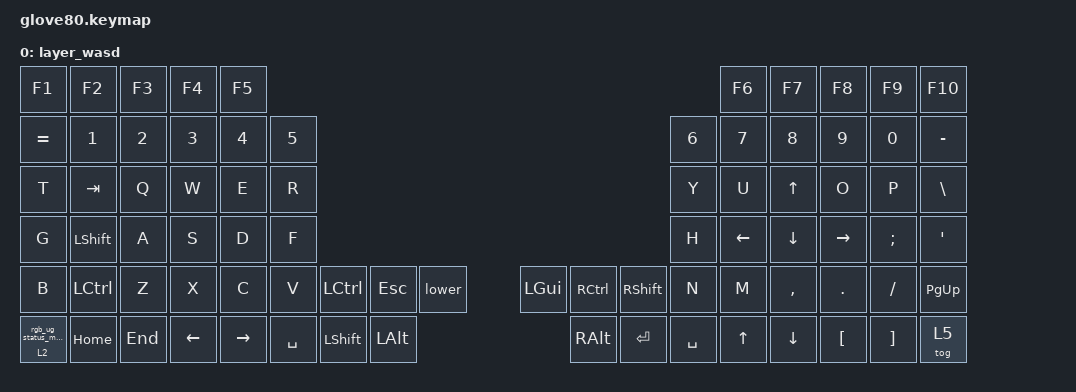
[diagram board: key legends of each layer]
#define HOST_OS 1  // set to 1 for Linux, default is 0 (Windows)
#include "./zmk-nodefree-config/helper.h"
#include "./zmk-nodefree-config/keypos_def/keypos_glv80.h"
/* #include "./zmk-nodefree-config/international_chars/german.dtsi" */
/*
 * Copyright (c) 2020 The ZMK Contributors
 * Copyright (c) 2022 Innaworks Development Limited, trading as MoErgo
 *
 * SPDX-License-Identifier: MIT
 */


/* THIS FILE WAS GENERATED BY GLOVE80 LAYOUT EDITOR
 *
 * This file was generated automatically. You may or may not want to
 * edit it directly.
 */

#include <behaviors.dtsi>
/* Include all behaviour includes needed by system behaviors/macros */
#include <dt-bindings/zmk/outputs.h>

/* Include behaviour includes needed by key binds - automatically generated */
#include <dt-bindings/zmk/keys.h>
#include <dt-bindings/zmk/bt.h>
#include <dt-bindings/zmk/rgb.h>
#include <dt-bindings/zmk/outputs.h>

#define QUICK_TAP_MS 175
#define THUMB_QUICK_TAP_MS 250
#define TAPPING_TERM_MS 280
#define DEF 0
#define NAV 3
/* #define FN 2 */
#define NUM 4
#define SYM 4
/* #define UC 5 */
/* #define MOUSE 6 */

#define ___ &trans
#define _x_ &none

/* ZMK_UNICODE_PAIR(   de_ae,      N0, N0,  E, N4,    N0, N0,  C, N4) */
/* ZMK_UNICODE_PAIR(   de_oe,      N0, N0,  F, N6,    N0, N0,  D, N6) */
/* ZMK_UNICODE_PAIR(   de_ue,      N0, N0,  F,  C,    N0, N0,  D,  C) */
/* ZMK_UNICODE_SINGLE( de_eszett,  N0, N0,  D,  F) */

/ {
    /* Glove80 system behavior & macros */
    behaviors {
        // For the "layer" key, it'd nice to be able to use it as either a shift or a toggle.
        // Configure it as a tap dance, so the first tap (or hold) is a &mo and the second tap is a &to
        lower: tap_dance_0 {
            compatible = "zmk,behavior-tap-dance";
            label = "LAYER_TAP_DANCE";
            #binding-cells = <0>;
            tapping-term-ms = <200>;
            bindings = <&mo 1>, <&to 1>;
        };
    };
};

/ {
    macros {
        rgb_ug_status_macro: rgb_ug_status_macro_0 {
            label = "RGB_UG_STATUS";
            compatible = "zmk,behavior-macro";
            #binding-cells = <0>;
            bindings
                = <&rgb_ug RGB_STATUS>;
        };

        bt_0: bt_profile_macro_0 {
            label = "BT_0";
            compatible = "zmk,behavior-macro";
            #binding-cells = <0>;
            bindings
                = <&out OUT_BLE>,
                  <&bt BT_SEL 0>;
        };

        bt_1: bt_profile_macro_1 {
            label = "BT_1";
            compatible = "zmk,behavior-macro";
            #binding-cells = <0>;
            bindings
                = <&out OUT_BLE>,
                  <&bt BT_SEL 1>;
        };

        bt_2: bt_profile_macro_2 {
            label = "BT_2";
            compatible = "zmk,behavior-macro";
            #binding-cells = <0>;
            bindings
                = <&out OUT_BLE>,
                  <&bt BT_SEL 2>;
        };

        bt_3: bt_profile_macro_3 {
            label = "BT_3";
            compatible = "zmk,behavior-macro";
            #binding-cells = <0>;
            bindings
                = <&out OUT_BLE>,
                  <&bt BT_SEL 3>;
        };
    };
};

/ {
    magic: magic_hold_tap {
        compatible = "zmk,behavior-hold-tap";
        label = "MAGIC_HOLD_TAP";
        #binding-cells = <2>;
        flavor = "tap-preferred";
        tapping-term-ms = <200>;
        bindings = <&mo>, <&rgb_ug_status_macro>;
    };
};



/* ZMK_BEHAVIOR(nested_ht_layer, hold_tap, */
/*     flavor = "balanced"; */
/*     tapping-term-ms = <10>; */
/*     bindings = <&mo>, <&kp>; */
/* ) */

/* #define MAKE_TAP_HOLD_REPEAT(NAME, HOLD, TAP) \ */
/*     ZMK_BEHAVIOR(NAME, tap_dance, \ */
/*         tapping-term-ms = <TAPPING_TERM_MS>; \ */
/*         bindings = <&nested_ht_layer HOLD TAP>, <&kp TAP>; \ */
/*     ) */

/* MAKE_TAP_HOLD_REPEAT(nav_bspc, NAV, BSPC) */
/* MAKE_TAP_HOLD_REPEAT(nav_spc, NAV, SPC) */



// tap: comma | shift + tap: semicolon
ZMK_BEHAVIOR(comma_morph, mod_morph,
    mods = <(MOD_LSFT|MOD_RSFT)>;
    bindings = <&kp COMMA>, <&kp SEMICOLON>;
)

// tap: dot | shift + tap: colon
ZMK_BEHAVIOR(dot_morph, mod_morph,
    bindings = <&kp DOT>, <&kp COLON>;
    mods = <(MOD_LSFT|MOD_RSFT)>;
)

// tap: qmark | shift + tap: excl
ZMK_BEHAVIOR(qexcl, mod_morph,
    bindings = <&kp QMARK>, <&kp EXCL>;
    mods = <(MOD_LSFT|MOD_RSFT)>;
)


#define KEYS_L      \
        0  1  2  3  4         \
        10 11 12 13 14 15      \
        22 23 24 25 26 27      \
        34 35 36 37 38 39      \
        46 47 48 49 50 51      \
        64 65 66 67 68
#define                              KEYS_R \
                                        5  6  7  8  9 \
                                    16 17 18 19 20 21 \
                                    28 29 30 31 32 33 \
                                    40 41 42 43 44 45 \
                                    58 59 60 61 62 63 \
                                        75 76 77 78 79
#define THUMBS          \
                    69 52       57 74                \
                        70 53     56 73                 \
                        71 54   55 72

#define MAKE_HRM(NAME, HOLD, TAP, TRIGGER_POS) \
    ZMK_BEHAVIOR(NAME, hold_tap, \
        flavor = "balanced"; \
        tapping-term-ms = <TAPPING_TERM_MS>; \
        quick-tap-ms = <QUICK_TAP_MS>; \
        require-prior-idle-ms = <150>; \
        bindings = <HOLD>, <TAP>; \
        hold-trigger-key-positions = <TRIGGER_POS>; \
        hold-trigger-on-release; \
    )


MAKE_HRM(hml, &kp, &kp, KEYS_R THUMBS)  // left-hand HRMs
MAKE_HRM(hmr, &kp, &kp, KEYS_L THUMBS)  // right-hand HRMs


// tap: left-parenthesis | shft + tap: less-than
ZMK_BEHAVIOR(lpar_lt, mod_morph,
    bindings = <&kp LPAR>, <&kp LT>;
    mods = <(MOD_LSFT|MOD_RSFT)>;
)

// tap: right-parenthesis | shft + tap: greater-than
ZMK_BEHAVIOR(rpar_gt, mod_morph,
    bindings = <&kp RPAR>, <&kp GT>;
    mods = <(MOD_LSFT|MOD_RSFT)>;
)

MAKE_HRM(hml_repeat, &kp, &key_repeat, KEYS_R THUMBS)  // used for HRM-combo
MAKE_HRM(hmr_lpar_lt, &kp, &lpar_lt, KEYS_L THUMBS)    // "    "   "   "
MAKE_HRM(hmr_rpar_gt, &kp, &rpar_gt, KEYS_L THUMBS)    // "    "   "   "

#define HRC_LPAR   &hmr_lpar_lt RS(LCTRL) 0
#define HRC_RPAR   &hmr_rpar_gt LA(LSHIFT) 0




#define COMBO_TERM_FAST 18
#define COMBO_TERM_SLOW 30

#define HRC_TAB    &hml         LA(LCTRL) TAB
#define HRC_REPEAT &hml_repeat  LS(LCTRL) 0
ZMK_COMBO(tab,   HRC_TAB,       LM3 LM2,     DEF NAV NUM, COMBO_TERM_FAST)
ZMK_COMBO(repeat,HRC_REPEAT,    LM2 LM1,     DEF NAV NUM, COMBO_TERM_FAST)

ZMK_COMBO(lpar,  HRC_LPAR,      RM1 RM2,     DEF     NUM, COMBO_TERM_FAST)
ZMK_COMBO(rpar,  HRC_RPAR,      RM2 RM3,     DEF     NUM, COMBO_TERM_FAST)
ZMK_COMBO(lt,    &kp LT,        RM1 RM2,         NAV    , COMBO_TERM_FAST)
ZMK_COMBO(gt,    &kp GT,        RM2 RM3,         NAV    , COMBO_TERM_FAST)

ZMK_COMBO(lbkt,  &kp LBKT,      RB1 RB2,     DEF     NUM, COMBO_TERM_FAST)
ZMK_COMBO(rbkt,  &kp RBKT,      RB2 RB3,     DEF     NUM, COMBO_TERM_FAST)
ZMK_COMBO(lbrc,  &kp LBRC,      RB1 RB2,         NAV    , COMBO_TERM_FAST)
ZMK_COMBO(rbrc,  &kp RBRC,      RB2 RB3,         NAV    , COMBO_TERM_FAST)

/* Vertical combos - left hand */
ZMK_COMBO(at,    &kp AT,        LT3 LM3,     DEF NAV NUM, COMBO_TERM_SLOW)
ZMK_COMBO(hash,  &kp HASH,      LT2 LM2,     DEF NAV NUM, COMBO_TERM_SLOW)
ZMK_COMBO(dllr,  &kp DLLR,      LT1 LM1,     DEF NAV NUM, COMBO_TERM_SLOW)
ZMK_COMBO(prcnt, &kp PRCNT,     LT0 LM0,     DEF NAV NUM, COMBO_TERM_SLOW)

ZMK_COMBO(grave, &kp GRAVE,     LM3 LB3,     DEF NAV NUM, COMBO_TERM_SLOW)
ZMK_COMBO(bslh,  &kp BSLH,      LM2 LB2,     DEF NAV NUM, COMBO_TERM_SLOW)
ZMK_COMBO(equal, &kp EQUAL,     LM1 LB1,     DEF NAV NUM, COMBO_TERM_SLOW)
ZMK_COMBO(tilde, &kp TILDE,     LM0 LB0,     DEF NAV NUM, COMBO_TERM_SLOW)

/* Vertical combos - right hand */
ZMK_COMBO(caret, &kp CARET,     RT0 RM0,     DEF NAV NUM, COMBO_TERM_SLOW)
ZMK_COMBO(plus,  &kp PLUS,      RT1 RM1,     DEF NAV NUM, COMBO_TERM_SLOW)
ZMK_COMBO(star,  &kp STAR,      RT2 RM2,     DEF NAV NUM, COMBO_TERM_SLOW)
ZMK_COMBO(amps,  &kp AMPS,      RT3 RM3,     DEF NAV NUM, COMBO_TERM_SLOW)

ZMK_COMBO(under, &kp UNDER,     RM0 RB0,     DEF NAV NUM, COMBO_TERM_SLOW)
ZMK_COMBO(minus, &kp MINUS,     RM1 RB1,     DEF NAV NUM, COMBO_TERM_SLOW)
ZMK_COMBO(slash, &kp SLASH,     RM2 RB2,     DEF NAV NUM, COMBO_TERM_SLOW)
ZMK_COMBO(pipe,  &kp PIPE,      RM3 RB3,     DEF NAV NUM, COMBO_TERM_SLOW)


#define CMP RGUI

ZMK_BEHAVIOR(compose_ae, macro,
    wait-ms = <30>;
    tap-ms = <40>;
    bindings = <&kp CMP &kp DQT &kp A>;
)

ZMK_BEHAVIOR(compose_oe, macro,
    wait-ms = <30>;
    tap-ms = <40>;
    bindings = <&kp CMP &kp DQT &kp O>;
)

ZMK_BEHAVIOR(compose_ue, macro,
    wait-ms = <30>;
    tap-ms = <40>;
    bindings = <&kp CMP &kp DQT &kp U>;
)

ZMK_BEHAVIOR(compose_sz, macro,
    wait-ms = <30>;
    tap-ms = <40>;
    bindings = <&kp CMP &kp S &kp S>;
)


ZMK_BEHAVIOR(e_edit, macro,
    wait-ms = <30>;
    tap-ms = <40>;
    bindings = <&kp LC(C) &kp APOSTROPHE>;
)

ZMK_BEHAVIOR(e_confirm, macro,
    wait-ms = <30>;
    tap-ms = <40>;
    bindings = <&kp LC(C) &kp LC(C)>;
)

ZMK_BEHAVIOR(e_abort, macro,
    wait-ms = <30>;
    tap-ms = <40>;
    bindings = <&kp LC(C) &kp LC(K)>;
)

/* #define _COMMA , */

ZMK_BEHAVIOR(slow_sl, sticky_key,
    bindings = <&sl>;
    release-after-ms = <3000>;
)

/* ZMK_BEHAVIOR(stay, macro_one_param, */
/*     wait-ms = <0>; */
/*     bindings */
/*       = <&macro_param_1to1> */
/*       , <&kp MACRO_PLACEHOLDER> */
/*       , <&sl NAV> */
/*       ; */
/* ) */

/ {
behaviors {
    sls: sticky_layer_slow {
        compatible = "zmk,behavior-sticky-key";
        label = "STICKY_LAYER_SLOW";
        #binding-cells = <1>;
        release-after-ms = <3000>;
        bindings = <&mo>;
        /* quick-release; */
    };
};
};

ZMK_BEHAVIOR(stay, macro_one_param,
    bindings
      = <&macro_param_1to1>
      , <&macro_press &kp MACRO_PLACEHOLDER>
      , <&macro_tap &sls NAV>
      , <&macro_pause_for_release>
      , <&macro_param_1to1>
      , <&macro_release &kp MACRO_PLACEHOLDER>
      ;
)
/* ZMK_BEHAVIOR */

/* ZMK_BEHAVIOR(td_ae, tap_dance, */
/*     tapping-term-ms = <QUICK_TAP_MS>; */
/*     bindings = <&kp A>, <&compose_ae>; */
/* ) */

/* ZMK_BEHAVIOR(td_oe, tap_dance, */
/*     tapping-term-ms = <QUICK_TAP_MS>; */
/*     bindings = <&kp O>, <&compose_oe>; */
/* ) */

/* ZMK_BEHAVIOR(td_ue, tap_dance, */
/*     tapping-term-ms = <QUICK_TAP_MS>; */
/*     bindings = <&kp U>, <&compose_ue>; */
/* ) */

/* ZMK_COMBO(eszett,  &compose_sz, LM2 LB4, DEF NAV NUM, COMBO_TERM_SLOW) */

/ {
behaviors {

    // We cannot override global behaviors yet (?), so make a sticky key behavior.
    skq: sticky_key_quick_release {
        compatible = "zmk,behavior-sticky-key";
        label = "STICKY_KEY_QUICK_RELEASE";
        #binding-cells = <1>;
        bindings = <&kp>;
        release-after-ms = <1000>;
        quick-release;
        ignore-modifiers;
    };

    smart_shft: smart_shift {
        compatible = "zmk,behavior-mod-morph";
        label = "SMART_SHIFT";
        #binding-cells = <0>;
        bindings = <&skq LSHFT>, <&caps_word>;
        mods = <(MOD_LSFT|MOD_RSFT)>;
    };

    thb: thumb_with_repeat {
        compatible = "zmk,behavior-hold-tap";
        label = "THUMB_WITH_REPEAT";
        #binding-cells = <2>;
        tapping-term-ms = <TAPPING_TERM_MS>;
        quick_tap_ms = <THUMB_QUICK_TAP_MS>;
        require-prior-idle-ms = <150>;
        /* flavor = "tap-unless-interrupted"; */
        flavor = "balanced";
        bindings = <&mo>, <&kp>;
    };

    /* td_hml_sz: tap_dance_mod_tap { */
    /*     compatible = "zmk,behavior-tap-dance"; */
    /*     label = "TAP_DANCE_MOD_TAP"; */
    /*     #binding-cells = <0>; */
    /*     tapping-term-ms = <TAPPING_TERM_MS>; */
    /*     bindings = <&hml LSHIFT S>, <&de_eszett>; */
    /* }; */

};
};


GLV80_LAYER(base,
// ╭───────────────┬───────────────┬───────────────┬───────────────┬───────────────╮                                   ╭───────────────┬───────────────┬───────────────┬───────────────┬───────────────╮
    &kp F1          &kp F2          &kp F3          &kp F4          &kp F5                                              &kp F6          &kp F7          &kp F8          &kp F9          &kp F10
// ├───────────────┼───────────────┼───────────────┼───────────────┼───────────────┼───────────────╮   ╭───────────────┼───────────────┼───────────────┼───────────────┼───────────────┼───────────────┤
    &kp EQUAL       &kp N1          &kp N2          &kp N3          &kp N4          &kp N5              &kp N6          &kp N7           &kp N8         &kp N9          &kp N0          &kp MINUS
// ├───────────────┼───────────────┼───────────────┼───────────────┼───────────────┼───────────────┤   ├───────────────┼───────────────┼───────────────┼───────────────┼───────────────┼───────────────┤
    &kp DEL         &kp Q           &kp W           &kp F           &kp P           &kp B               &kp J           &kp L           &kp U           &kp Y           &kp APOS        &kp BSLH
// ├───────────────┼───────────────┼───────────────┼───────────────┼───────────────┼───────────────┤   ├───────────────┼───────────────┼───────────────┼───────────────┼───────────────┼───────────────┤
    &kp TAB         &kp A           &hml LALT R     &hml LSHIFT S   &hml LCTRL T    &hml LGUI G         &hmr LGUI M     &hmr RCTRL N    &hmr RSHIFT E   &hmr LALT I     &kp O           &kp SQT
// ├───────────────┼───────────────┼───────────────┼───────────────┼───────────────┼───────────────┤   ├───────────────┼───────────────┼───────────────┼───────────────┼───────────────┼───────────────┤
    &kp GRAVE       &kp Z           &kp X           &kp C           &kp D           &kp V            ,  &kp K           &kp H           &comma_morph    &dot_morph      &qexcl          &kp PG_UP
// ├───────────────┼───────────────┼───────────────┼───────────────┼───────────────┼───────────────╯   ╰───────────────┼───────────────┼───────────────┼───────────────┼───────────────┼───────────────┤
    &magic 2 0      &compose_sz     &compose_oe     &compose_ae     &compose_ue                      ,                  &kp HOME        &kp PG_DN       &kp PG_UP       &kp END         &tog 5
// ╰───────────────┴───────────────┴───────────────┴───────────────┴───────────────╯                                   ╰───────────────┴───────────────┴───────────────┴───────────────┴───────────────╯
                                                                                                     ,
//                                         ╭───────────────┬───────────────┬───────────────╮                   ╭───────────────┬───────────────┬───────────────╮
                                            &smart_shft     &kp LC(INS)     &kp LS(INS)                         &kp PG_UP       &kp RGUI        &smart_shft
                                        /* ├───────────────┼───────────────┼───────────────┤ */      ,      /* ├───────────────┼───────────────┼───────────────┤ */
                                            &thb SYM BSPC   &thb SYM ESC    &lower                              _x_             &thb 1 RET      &thb NAV SPC
//                                         ╰───────────────┴───────────────┴───────────────╯                   ╰───────────────┴───────────────┴───────────────╯
)

GLV80_LAYER(lower,
/* ╭───────────────┬───────────────┬───────────────┬───────────────┬───────────────╮                                   ╭───────────────┬───────────────┬───────────────┬───────────────┬───────────────╮ */
    &kp C_BRI_DN    &kp C_BRI_UP    &kp C_PREV      &kp C_NEXT      &kp C_PP                                            &kp C_MUTE      &kp C_VOL_DN    &kp C_VOL_UP    _x_             &kp PAUSE_BREAK
/* ├───────────────┼───────────────┼───────────────┼───────────────┼───────────────┼───────────────╮   ╭───────────────┼───────────────┼───────────────┼───────────────┼───────────────┼───────────────┤ */
    ___             _x_             _x_             _x_             _x_             &kp HOME            &kp LPAR        &kp KP_NUM      &kp KP_EQUAL    &kp KP_SLASH    &kp KP_MULTIPLY &kp PRINTSCREEN
/* ├───────────────┼───────────────┼───────────────┼───────────────┼───────────────┼───────────────┤   ├───────────────┼───────────────┼───────────────┼───────────────┼───────────────┼───────────────┤ */
    ___             _x_             _x_             &kp UP_ARROW    _x_             &kp END             &kp RPAR        &kp KP_N7       &kp KP_N8       &kp KP_N9       &kp KP_MINUS    &kp SCROLLLOCK
/* ├───────────────┼───────────────┼───────────────┼───────────────┼───────────────┼───────────────┤   ├───────────────┼───────────────┼───────────────┼───────────────┼───────────────┼───────────────┤ */
    ___             _x_             &kp LEFT_ARROW  &kp DOWN_ARROW  &kp RIGHT_ARROW &kp PG_UP           &kp PERCENT     &kp KP_N4       &kp KP_N5       &kp KP_N6       &kp KP_PLUS     _x_
/* ├───────────────┼───────────────┼───────────────┼───────────────┼───────────────┼───────────────┤   ├───────────────┼───────────────┼───────────────┼───────────────┼───────────────┼───────────────┤ */
    ___             &kp K_APP       _x_             &kp F11         &kp F12         &kp PG_DN        ,  &kp COMMA       &kp KP_N1       &kp KP_N2       &kp KP_N3       &kp KP_ENTER    ___
/* ├───────────────┼───────────────┼───────────────┼───────────────┼───────────────┼───────────────╯   ╰───────────────┼───────────────┼───────────────┼───────────────┼───────────────┼───────────────┤ */
    &magic 2 0      &kp CAPS        &kp INS         &kp F11         &kp F12                          ,                  &kp KP_N0       &kp KP_N0       &kp KP_DOT      &kp KP_ENTER    ___
/* ╰───────────────┴───────────────┴───────────────┴───────────────┴───────────────╯                                   ╰───────────────┴───────────────┴───────────────┴───────────────┴───────────────╯ */
                                                                                                     ,
/*                                         ╭───────────────┬───────────────┬───────────────╮                   ╭───────────────┬───────────────┬───────────────╮                                         */
                                            ___             ___             &to 0                               ___             ___             ___
/*                                         ├───────────────┼───────────────┼───────────────┤       */,/*       ├───────────────┼───────────────┼───────────────┤                                         */
                                            ___             ___             ___                                 ___             ___             ___
/*                                         ╰───────────────┴───────────────┴───────────────╯                   ╰───────────────┴───────────────┴───────────────╯                                         */
)

GLV80_LAYER(magic,
// ╭───────────────┬───────────────┬───────────────┬───────────────┬───────────────╮                                   ╭───────────────┬───────────────┬───────────────┬───────────────┬───────────────╮
    &bt BT_CLR      _x_             _x_             _x_             _x_                                                 _x_             _x_             _x_             _x_             &bt BT_CLR_ALL
// ├───────────────┼───────────────┼───────────────┼───────────────┼───────────────┼───────────────╮   ╭───────────────┼───────────────┼───────────────┼───────────────┼───────────────┼───────────────┤
    _x_             _x_             _x_             _x_             _x_             _x_                 _x_             _x_             _x_             _x_             _x_             _x_
// ├───────────────┼───────────────┼───────────────┼───────────────┼───────────────┼───────────────┤   ├───────────────┼───────────────┼───────────────┼───────────────┼───────────────┼───────────────┤
    _x_             &rgb_ug RGB_SPI &rgb_ug RGB_SAI &rgb_ug RGB_HUI &rgb_ug RGB_BRI &rgb_ug RGB_TOG     _x_             _x_             _x_             _x_             _x_             _x_
// ├───────────────┼───────────────┼───────────────┼───────────────┼───────────────┼───────────────┤   ├───────────────┼───────────────┼───────────────┼───────────────┼───────────────┼───────────────┤
    &bootloader     &rgb_ug RGB_SPD &rgb_ug RGB_SAD &rgb_ug RGB_HUD &rgb_ug RGB_BRD &rgb_ug RGB_EFF     _x_             _x_             _x_             _x_             _x_             &bootloader
// ├───────────────┼───────────────┼───────────────┼───────────────┼───────────────┼───────────────┤   ├───────────────┼───────────────┼───────────────┼───────────────┼───────────────┼───────────────┤
    &sys_reset      _x_             _x_             _x_             _x_             _x_              ,  _x_             _x_             _x_             _x_             _x_             &sys_reset
// ├───────────────┼───────────────┼───────────────┼───────────────┼───────────────┼───────────────╯   ╰───────────────┼───────────────┼───────────────┼───────────────┼───────────────┼───────────────┤
    _x_             _x_             _x_             _x_             _x_                              ,                  _x_             _x_             _x_             _x_             _x_
// ╰───────────────┴───────────────┴───────────────┴───────────────┴───────────────╯                                   ╰───────────────┴───────────────┴───────────────┴───────────────┴───────────────╯
                                                                                                     ,
//                                         ╭───────────────┬───────────────┬───────────────╮                   ╭───────────────┬───────────────┬───────────────╮
                                            _x_             &bt_2           &bt_3                               _x_             _x_             _x_
                                        /* ├───────────────┼───────────────┼───────────────┤ */      ,      /* ├───────────────┼───────────────┼───────────────┤ */
                                            &bt_0           &bt_1           &out OUT_USB                        _x_             _x_             _x_
//                                         ╰───────────────┴───────────────┴───────────────╯                   ╰───────────────┴───────────────┴───────────────╯
)

GLV80_LAYER(nav,
// ╭───────────────┬───────────────┬───────────────┬───────────────┬───────────────╮                                   ╭───────────────┬───────────────┬───────────────┬───────────────┬───────────────╮
    ___             ___             ___             ___             ___                                                 ___             ___             ___             ___             ___
// ├───────────────┼───────────────┼───────────────┼───────────────┼───────────────┼───────────────╮   ╭───────────────┼───────────────┼───────────────┼───────────────┼───────────────┼───────────────┤
    ___             ___             ___             ___             ___             ___                 ___             ___             ___             ___             ___             ___
// ├───────────────┼───────────────┼───────────────┼───────────────┼───────────────┼───────────────┤   ├───────────────┼───────────────┼───────────────┼───────────────┼───────────────┼───────────────┤
    ___             ___             ___             ___             ___             ___                 ___             ___             ___             ___             ___             ___
// ├───────────────┼───────────────┼───────────────┼───────────────┼───────────────┼───────────────┤   ├───────────────┼───────────────┼───────────────┼───────────────┼───────────────┼───────────────┤
    ___             ___             ___             ___             ___             ___                 ___             &kp LEFT        &kp DOWN        &kp UP          &kp RIGHT       ___
// ├───────────────┼───────────────┼───────────────┼───────────────┼───────────────┼───────────────┤   ├───────────────┼───────────────┼───────────────┼───────────────┼───────────────┼───────────────┤
    ___             ___             ___             ___             ___             ___              ,  ___             &e_edit         &e_confirm      &e_abort        ___             ___
// ├───────────────┼───────────────┼───────────────┼───────────────┼───────────────┼───────────────╯   ╰───────────────┼───────────────┼───────────────┼───────────────┼───────────────┼───────────────┤
    ___             ___             ___             ___             ___                              ,                  ___             ___             ___             ___             ___
// ╰───────────────┴───────────────┴───────────────┴───────────────┴───────────────╯                                   ╰───────────────┴───────────────┴───────────────┴───────────────┴───────────────╯
                                                                                                     ,
//                                         ╭───────────────┬───────────────┬───────────────╮                   ╭───────────────┬───────────────┬───────────────╮
                                            ___             ___             ___                                 ___             ___             ___
                                        /* ├───────────────┼───────────────┼───────────────┤ */      ,      /* ├───────────────┼───────────────┼───────────────┤ */
                                            ___             ___             ___                                 ___             ___             ___
//                                         ╰───────────────┴───────────────┴───────────────╯                   ╰───────────────┴───────────────┴───────────────╯
)

GLV80_LAYER(sym,
// ╭───────────────┬───────────────┬───────────────┬───────────────┬───────────────╮                                   ╭───────────────┬───────────────┬───────────────┬───────────────┬───────────────╮
    ___             ___             ___             ___             ___                                                 ___             ___             ___             ___             ___
// ├───────────────┼───────────────┼───────────────┼───────────────┼───────────────┼───────────────╮   ╭───────────────┼───────────────┼───────────────┼───────────────┼───────────────┼───────────────┤
    ___             ___             ___             ___             ___             ___                 ___             ___             ___             ___             ___             ___
// ├───────────────┼───────────────┼───────────────┼───────────────┼───────────────┼───────────────┤   ├───────────────┼───────────────┼───────────────┼───────────────┼───────────────┼───────────────┤
    ___             &kp AT          &kp UNDER       &kp LBKT        &kp RBKT        &kp CARET           &kp EXCL        &kp LT          &kp GT          &kp EQUAL       &kp AMPS        &kp BSLH
// ├───────────────┼───────────────┼───────────────┼───────────────┼───────────────┼───────────────┤   ├───────────────┼───────────────┼───────────────┼───────────────┼───────────────┼───────────────┤
    ___             &kp BSLH        &kp FSLH        &kp LBRC        &kp RBRC        &kp STAR            &kp QMARK       &kp LPAR        &kp RPAR        &kp MINUS       &kp COLON       &kp AT
// ├───────────────┼───────────────┼───────────────┼───────────────┼───────────────┼───────────────┤   ├───────────────┼───────────────┼───────────────┼───────────────┼───────────────┼───────────────┤
    ___             &kp HASH        &kp DLLR        &kp PIPE        &kp TILDE       &kp GRAVE        ,  &kp PLUS        &kp PRCNT       &kp DQT         &kp SQT         ___             ___
// ├───────────────┼───────────────┼───────────────┼───────────────┼───────────────┼───────────────╯   ╰───────────────┼───────────────┼───────────────┼───────────────┼───────────────┼───────────────┤
    ___             ___             ___             ___             ___                              ,                  ___             ___             ___             ___             ___
// ╰───────────────┴───────────────┴───────────────┴───────────────┴───────────────╯                                   ╰───────────────┴───────────────┴───────────────┴───────────────┴───────────────╯
                                                                                                     ,
//                                         ╭───────────────┬───────────────┬───────────────╮                   ╭───────────────┬───────────────┬───────────────╮
                                            ___             ___             ___                                 ___             ___             ___
                                        /* ├───────────────┼───────────────┼───────────────┤ */      ,      /* ├───────────────┼───────────────┼───────────────┤ */
                                            ___             ___             ___                                 ___             ___             ___
//                                         ╰───────────────┴───────────────┴───────────────╯                   ╰───────────────┴───────────────┴───────────────╯
)
/ {
    keymap {
        compatible = "zmk,keymap";


        layer_wasd {
            bindings = <
     &kp F1    &kp F2   &kp F3    &kp F4     &kp F5                                                                                  &kp F6     &kp F7    &kp F8    &kp F9    &kp F10
  &kp EQUAL    &kp N1   &kp N2    &kp N3     &kp N4  &kp N5                                                                  &kp N6  &kp N7     &kp N8    &kp N9    &kp N0  &kp MINUS
   &kp T    &kp TAB     &kp Q    &kp W     &kp E      &kp R                                                                   &kp Y   &kp U      &kp UP     &kp O     &kp P   &kp BSLH
   &kp G    &kp LSHFT     &kp A    &kp S     &kp D      &kp F                                                                   &kp H   &kp LEFT      &kp DOWN     &kp RIGHT  &kp SEMI    &kp SQT
   &kp B  &kp LCTRL     &kp Z    &kp X     &kp C      &kp V  &kp LCTRL  &kp ESC    &lower  &kp LGUI  &kp RCTRL  &kp RSHFT   &kp N   &kp M  &kp COMMA   &kp DOT  &kp FSLH  &kp PG_UP
 &magic 2 0  &kp HOME  &kp END  &kp LEFT  &kp RIGHT           &kp SPC    &kp LSHFT  &kp LALT  &kp RALT    &kp RET  &kp SPACE          &kp UP   &kp DOWN  &kp LBKT  &kp RBKT  &tog 5
            >;
        };
        };
    };

/* GLV80_LAYER(template, */
/* // ╭───────────────┬───────────────┬───────────────┬───────────────┬───────────────╮                                   ╭───────────────┬───────────────┬───────────────┬───────────────┬───────────────╮ */
       /* ___             ___             ___             ___             ___                                                 ___             ___             ___             ___             ___ */
/* // ├───────────────┼───────────────┼───────────────┼───────────────┼───────────────┼───────────────╮   ╭───────────────┼───────────────┼───────────────┼───────────────┼───────────────┼───────────────┤ */
/*     ___             ___             ___             ___             ___             ___                 ___             ___             ___             ___             ___             ___ */
/* // ├───────────────┼───────────────┼───────────────┼───────────────┼───────────────┼───────────────┤   ├───────────────┼───────────────┼───────────────┼───────────────┼───────────────┼───────────────┤ */
/*     ___             ___             ___             ___             ___             ___                 ___             ___             ___             ___             ___             ___ */
/* // ├───────────────┼───────────────┼───────────────┼───────────────┼───────────────┼───────────────┤   ├───────────────┼───────────────┼───────────────┼───────────────┼───────────────┼───────────────┤ */
/*     ___             ___             ___             ___             ___             ___                 ___             ___             ___             ___             ___             ___ */
/* // ├───────────────┼───────────────┼───────────────┼───────────────┼───────────────┼───────────────┤   ├───────────────┼───────────────┼───────────────┼───────────────┼───────────────┼───────────────┤ */
/*     ___             ___             ___             ___             ___             ___              ,  ___             ___             ___             ___             ___             ___ */
/* // ├───────────────┼───────────────┼───────────────┼───────────────┼───────────────┼───────────────╯   ╰───────────────┼───────────────┼───────────────┼───────────────┼───────────────┼───────────────┤ */
/*     ___             ___             ___             ___             ___                              ,                  ___             ___             ___             ___             ___ */
/* // ╰───────────────┴───────────────┴───────────────┴───────────────┴───────────────╯                                   ╰───────────────┴───────────────┴───────────────┴───────────────┴───────────────╯ */
/*                                                                                                      , */
/* //                                         ╭───────────────┬───────────────┬───────────────╮                   ╭───────────────┬───────────────┬───────────────╮ */
/*                                             ___             ___             ___                                 ___             ___             ___ */
/*                                         /\* ├───────────────┼───────────────┼───────────────┤ *\/      ,      /\* ├───────────────┼───────────────┼───────────────┤ *\/ */
/*                                             ___             ___             ___                                 ___             ___             ___ */
/* //                                         ╰───────────────┴───────────────┴───────────────╯                   ╰───────────────┴───────────────┴───────────────╯ */
/* ) */



// ╭───────────────┬───────────────┬───────────────┬───────────────┬───────────────╮                                   ╭───────────────┬───────────────┬───────────────┬───────────────┬───────────────╮
// ├───────────────┼───────────────┼───────────────┼───────────────┼───────────────┼───────────────╮   ╭───────────────┼───────────────┼───────────────┼───────────────┼───────────────┼───────────────┤
// ├───────────────┼───────────────┼───────────────┼───────────────┼───────────────┼───────────────┤   ├───────────────┼───────────────┼───────────────┼───────────────┼───────────────┼───────────────┤
// ├───────────────┼───────────────┼───────────────┼───────────────┼───────────────┼───────────────┤   ├───────────────┼───────────────┼───────────────┼───────────────┼───────────────┼───────────────┤
// ├───────────────┼───────────────┼───────────────┼───────────────┼───────────────┼───────────────┤   ├───────────────┼───────────────┼───────────────┼───────────────┼───────────────┼───────────────┤
// ├───────────────┼───────────────┼───────────────┼───────────────┼───────────────┼───────────────╯ , ╰───────────────┼───────────────┼───────────────┼───────────────┼───────────────┼───────────────┤
// ╰───────────────┴───────────────┴───────────────┴───────────────┴───────────────╯                 ,                 ╰───────────────┴───────────────┴───────────────┴───────────────┴───────────────╯
//                                                                                                     ,
//                                         ╭───────────────┬───────────────┬───────────────╮                   ╭───────────────┬───────────────┬───────────────╮
//                                        /* ├───────────────┼───────────────┼───────────────┤ */      ,      /* ├───────────────┼───────────────┼───────────────┤ */
//                                         ╰───────────────┴───────────────┴───────────────╯                   ╰───────────────┴───────────────┴───────────────╯
//

//
//
//

//            ei
//                                                                                                                                                                                                         
//
//

//iiinn

GLV80_LAYER(template,
/* ╭───────────────┬───────────────┬───────────────┬───────────────┬───────────────╮                                   ╭───────────────┬───────────────┬───────────────┬───────────────┬───────────────╮ */
    ___             ___             ___             ___             ___                                                 ___             ___             ___             ___             ___
/* ├───────────────┼───────────────┼───────────────┼───────────────┼───────────────┼───────────────╮   ╭───────────────┼───────────────┼───────────────┼───────────────┼───────────────┼───────────────┤ */
    ___             ___             ___             ___             ___             ___                 ___             ___             ___             ___             ___             ___
/* ├───────────────┼───────────────┼───────────────┼───────────────┼───────────────┼───────────────┤   ├───────────────┼───────────────┼───────────────┼───────────────┼───────────────┼───────────────┤ */
    ___             ___             ___             ___             ___             ___                 ___             ___             ___             ___             ___             ___
/* ├───────────────┼───────────────┼───────────────┼───────────────┼───────────────┼───────────────┤   ├───────────────┼───────────────┼───────────────┼───────────────┼───────────────┼───────────────┤ */
    ___             ___             ___             ___             ___             ___                 ___             ___             ___             ___             ___             ___
/* ├───────────────┼───────────────┼───────────────┼───────────────┼───────────────┼───────────────┤   ├───────────────┼───────────────┼───────────────┼───────────────┼───────────────┼───────────────┤ */
    ___             ___             ___             ___             ___             ___              ,  ___             ___             ___             ___             ___             ___
/* ├───────────────┼───────────────┼───────────────┼───────────────┼───────────────┼───────────────╯   ╰───────────────┼───────────────┼───────────────┼───────────────┼───────────────┼───────────────┤ */
    ___             ___             ___             ___             ___                              ,                  ___             ___             ___             ___             ___
/* ╰───────────────┴───────────────┴───────────────┴───────────────┴───────────────╯                                   ╰───────────────┴───────────────┴───────────────┴───────────────┴───────────────╯ */
                                                                                                     ,
/*                                         ╭───────────────┬───────────────┬───────────────╮                   ╭───────────────┬───────────────┬───────────────╮                                         */
                                            ___             ___             ___                                 ___             ___             ___
/*                                         ├───────────────┼───────────────┼───────────────┤      */ , /*      ├───────────────┼───────────────┼───────────────┤                                         */
                                            ___             ___             ___                                 ___             ___             ___
/*                                         ╰───────────────┴───────────────┴───────────────╯                   ╰───────────────┴───────────────┴───────────────╯                                         */
)
